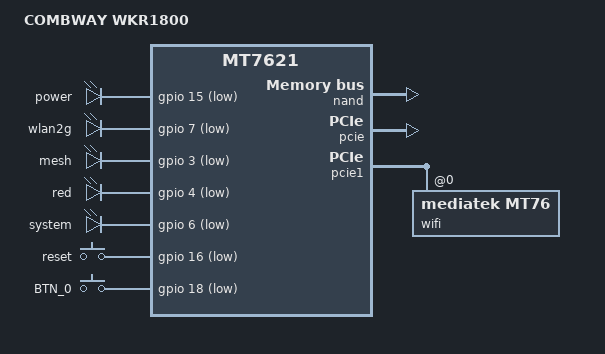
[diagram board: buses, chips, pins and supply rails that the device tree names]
#include "mt7621.dtsi"

#include <dt-bindings/gpio/gpio.h>
#include <dt-bindings/input/input.h>

/ {
	compatible = "combway,wkr1800", "mediatek,mt7621-soc";
	model = "COMBWAY WKR1800";

	aliases {
		led-boot = &led_sys;
		led-failsafe = &led_sys;
		led-running = &led_sys;
		led-upgrade = &led_sys;
	};

	chosen {
		bootargs = "console=ttyS0,115200";
	};

	leds {
		compatible = "gpio-leds";

		//
		power {
			label = "power";
			gpios = <&gpio 15 GPIO_ACTIVE_LOW>;
			default-state = "on";
		};

		//
		wlan2g {
			label = "wlan2g";
			gpios = <&gpio 7 GPIO_ACTIVE_LOW>;
			default-state = "off";
		};

		mesh {
			label = "mesh";
			gpios = <&gpio 3 GPIO_ACTIVE_LOW>;
			default-state = "off";
		};

		// 
		led_sys:red {
			label = "red";
			gpios = <&gpio 4 GPIO_ACTIVE_LOW>;
			default-state = "off";
		};

		system {
			label = "system";
			gpios = <&gpio 6 GPIO_ACTIVE_LOW>;
			default-state = "off";
		};
	};

	keys {
		compatible = "gpio-keys";
		reset {
			label = "reset";
			gpios = <&gpio 16 GPIO_ACTIVE_LOW>;
			linux,code = <KEY_RESTART>;
		};

		BTN_0 {
			label = "BTN_0";
			gpios = <&gpio 18 GPIO_ACTIVE_LOW>;
			linux,code = <BTN_0>;
		};
	};

};

&nand {
	status = "okay";

	mediatek,nmbm;
	mediatek,bmt-max-ratio = <1>;
	mediatek,bmt-max-reserved-blocks = <64>;
	
	partitions {
		compatible = "fixed-partitions";
		#address-cells = <1>;
		#size-cells = <1>;

		partition@0 {
			label = "uboot";
			reg = <0x00000 0x80000>; /* 64 KB */
		};

		partition@80000 {
			label = "uboot_env";
			reg = <0x80000 0x40000>; /* 32 KB */
		};

		partition@c0000 {
			label = "wlanmac";
			reg = <0xc0000 0x40000>; /* 32 KB */
		};

		factory:partition@100000 {
			label = "factory";
			reg = <0x100000 0x80000>;

			nvmem-layout {
				compatible = "fixed-layout";
				#address-cells = <1>;
				#size-cells = <1>;
				eeprom_factory_0: eeprom@0 {
					reg = <0x0 0xe00>;
				};
			
				macaddr_factory_0004: macaddr@0004 {
					reg = <0x0004 0x6>;
				};
			};
		};

		partition@180000 {
			label = "firmware";
			reg = <0x180000 0x7680000>;

			compatible = "fixed-partitions";
			#address-cells = <1>;
			#size-cells = <1>;

			partition@0 {
				label = "kernel";
				reg = <0x0 0x400000>;
			};

			partition@400000 {
				label = "ubi";
				reg = <0x400000 0x7280000>;
			};
			/* last 128KiB *32 is reserved for bad blocks management */
		};
	};
};

&switch0 {
	ports {
		port@1 {
			status = "okay";
			label = "eth0";
			nvmem-cells = <&macaddr_factory_0004 1>;
			nvmem-cell-names = "mac-address";
			mac-address-increment = <1>;
		};

		port@2 {
			status = "okay";
			label = "eth1";
		};

		port@3 {
			status = "okay";
			label = "eth2";
		};

		port@4 {
			status = "okay";
			label = "eth3";
		};

	};
};

&pcie {
	status = "okay";
};

&pcie1 {
	wifi@0,0 {
		compatible = "mediatek,mt76";
		reg = <0x0000 0 0 0 0>;

		nvmem-cells = <&eeprom_factory_0>, <&macaddr_factory_0004 0>;
        nvmem-cell-names = "eeprom", "mac-address";
        mediatek,disable-radar-background;
	};
};

&gmac0 {
	nvmem-cells = <&macaddr_factory_0004 0>;
	nvmem-cell-names = "mac-address";
	label = "dsa";
};

&state_default {
	gpio {
		groups = "i2c", "uart2", "uart3", "wdt", "jtag";
		function = "gpio";
	};
};
